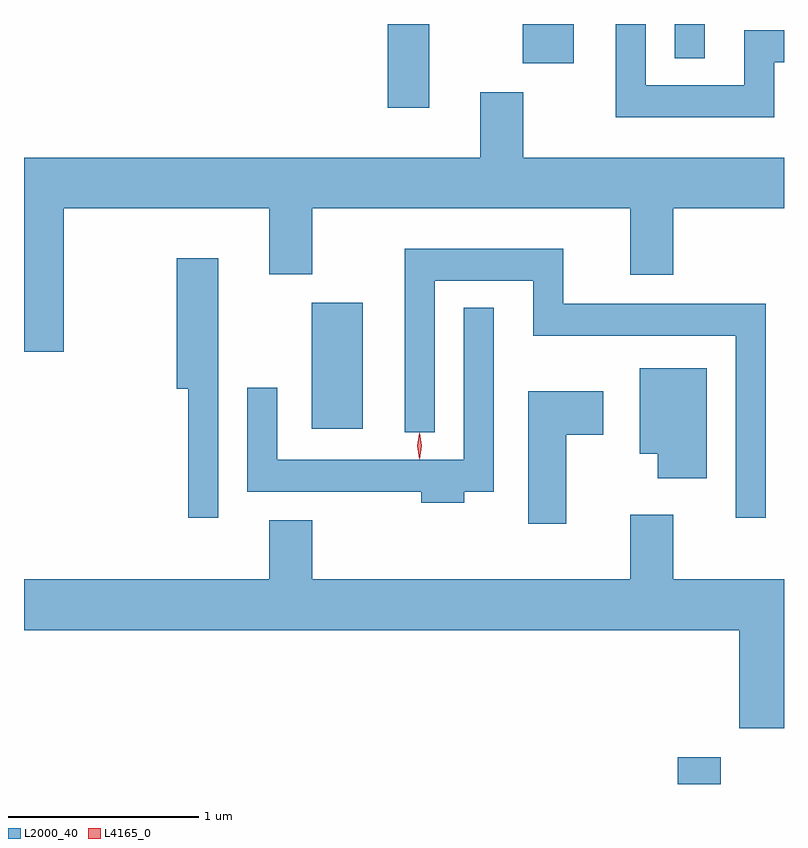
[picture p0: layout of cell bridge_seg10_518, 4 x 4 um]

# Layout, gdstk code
import gdstk
lib = gdstk.Library(unit=1e-6, precision=1e-09)
def R(c, l, rs):  # rectangles x0, y0, x1, y1
    for r in rs: c.add(gdstk.rectangle(r[:2], r[2:], *l))
def P(c, l, *ps):  # polygons
    for p in ps: c.add(gdstk.Polygon(p, *l))
L2000_40 = (2000, 40)
L4165_0 = (4165, 0)

bridge_seg10_518 = lib.new_cell('bridge_seg10_518')
R(bridge_seg10_518, L2000_40, [(771.821,2173.047,772.049,2173.189), (769.896,2174.916,770.164,2175.579), (770.296,2176.606,770.514,2177.047), (771.006,2176.841,771.274,2177.047), (771.806,2176.868,771.964,2177.047)])
P(bridge_seg10_518, L2000_40, [(772.329,2176.846),(772.381,2176.846),(772.381,2177.014),(772.171,2177.014),(772.171,2176.724),(771.654,2176.724),(771.654,2177.047),(771.496,2177.047),(771.496,2176.556),(772.329,2176.556)],
  [(768.589,2176.076),(769.671,2176.076),(769.671,2175.731),(769.899,2175.731),(769.899,2176.076),(771.571,2176.076),(771.571,2175.726),(771.799,2175.726),(771.799,2176.076),(772.381,2176.076),(772.381,2176.344),(771.009,2176.344),(771.009,2176.689),(770.781,2176.689),(770.781,2176.344),(768.381,2176.344),(768.381,2175.321),(768.589,2175.321)],
  [(772.284,2175.574),(771.219,2175.574),(771.219,2175.864),(770.386,2175.864),(770.386,2174.898),(770.544,2174.898),(770.544,2175.696),(771.061,2175.696),(771.061,2175.406),(772.126,2175.406),(772.126,2174.448),(772.284,2174.448)],
  [(769.404,2175.814),(769.186,2175.814),(769.186,2175.126),(769.246,2175.126),(769.246,2174.448),(769.404,2174.448)],
  [(770.699,2174.586),(770.854,2174.586),(770.854,2175.553),(770.696,2175.553),(770.696,2174.754),(769.714,2174.754),(769.714,2175.133),(769.556,2175.133),(769.556,2174.586),(770.471,2174.586),(770.471,2174.526),(770.699,2174.526)],
  [(771.974,2175.234),(771.621,2175.234),(771.621,2174.786),(771.716,2174.786),(771.716,2174.656),(771.974,2174.656)],
  [(771.234,2174.886),(771.429,2174.886),(771.429,2175.114),(771.036,2175.114),(771.036,2174.416),(771.234,2174.416)],
  [(772.381,2174.124),(771.799,2174.124),(771.799,2174.464),(771.571,2174.464),(771.571,2174.124),(769.899,2174.124),(769.899,2174.434),(769.671,2174.434),(769.671,2174.124),(768.381,2174.124),(768.381,2173.856),(772.146,2173.856),(772.146,2173.341),(772.381,2173.341)])
P(bridge_seg10_518, L4165_0, [(770.464,2174.757),(770.455,2174.826),(770.464,2174.896),(770.465,2174.896),(770.465,2174.896),(770.475,2174.826),(770.465,2174.757),(770.465,2174.757)],
  [(770.462,2174.759),(770.461,2174.76),(770.452,2174.826),(770.461,2174.892),(770.462,2174.893),(770.462,2174.892),(770.472,2174.826),(770.462,2174.76)])

lib.write_gds('bridge_seg10_518.gds')
